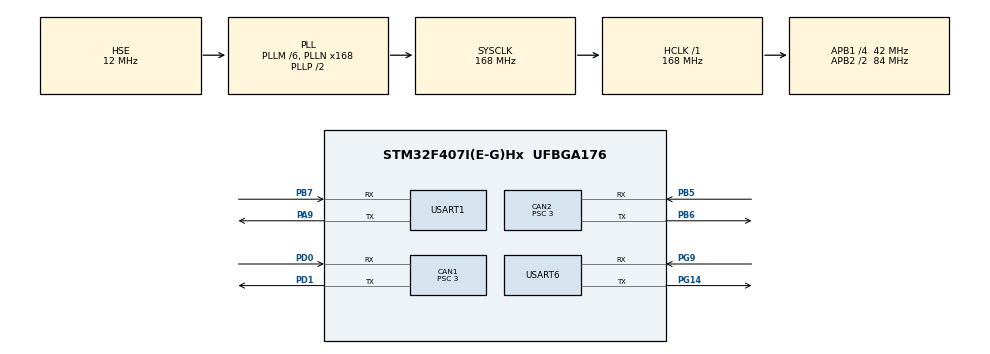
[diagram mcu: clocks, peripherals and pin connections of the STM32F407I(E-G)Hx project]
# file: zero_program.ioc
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CAN1.BS1=CAN_BS1_10TQ
CAN1.BS2=CAN_BS2_3TQ
CAN1.CalculateBaudRate=1000000
CAN1.CalculateTimeBit=1000
CAN1.CalculateTimeQuantum=71.42857142857143
CAN1.NART=ENABLE
CAN1.Prescaler=3
CAN2.BS1=CAN_BS1_10TQ
CAN2.BS2=CAN_BS2_3TQ
CAN2.CalculateBaudRate=1000000
CAN2.CalculateTimeBit=1000
CAN2.CalculateTimeQuantum=71.42857142857143
CAN2.NART=ENABLE
CAN2.Prescaler=3
Mcu.Family=STM32F4
Mcu.Name=STM32F407I(E-G)Hx
Mcu.Package=UFBGA176
NVIC.CAN1_RX0_IRQn=true\:2\:0\:true\:false\:true\:true\:true\:true
NVIC.CAN2_RX0_IRQn=true\:2\:0\:true\:false\:true\:true\:true\:true
NVIC.PriorityGroup=NVIC_PRIORITYGROUP_2
NVIC.TIM1_UP_TIM10_IRQn=true\:1\:0\:true\:false\:true\:true\:true\:true
NVIC.USART1_IRQn=true\:3\:0\:true\:false\:true\:true\:true\:true
NVIC.USART6_IRQn=true\:3\:0\:true\:false\:true\:true\:true\:true
PA13.Mode=Serial_Wire
PA13.Signal=SYS_JTMS-SWDIO
PA14.Mode=Serial_Wire
PA14.Signal=SYS_JTCK-SWCLK
PA9.Mode=Asynchronous
PA9.Signal=USART1_TX
PB5.Mode=CAN_Activate
PB5.Signal=CAN2_RX
PB6.Mode=CAN_Activate
PB6.Signal=CAN2_TX
PB7.Mode=Asynchronous
PB7.Signal=USART1_RX
PD0.Mode=CAN_Activate
PD0.Signal=CAN1_RX
PD1.Mode=CAN_Activate
PD1.Signal=CAN1_TX
PG14.Mode=Asynchronous
PG14.Signal=USART6_TX
PG9.Mode=Asynchronous
PG9.Signal=USART6_RX
PH0-OSC_IN.Mode=HSE-External-Oscillator
PH0-OSC_IN.Signal=RCC_OSC_IN
PH1-OSC_OUT.Mode=HSE-External-Oscillator
PH1-OSC_OUT.Signal=RCC_OSC_OUT
ProjectManager.HeapSize=0x200
ProjectManager.StackSize=0x400
ProjectManager.TargetToolchain=MDK-ARM V5
RCC.48MHZClocksFreq_Value=84000000
RCC.AHBFreq_Value=168000000
RCC.APB1CLKDivider=RCC_HCLK_DIV4
RCC.APB1Freq_Value=42000000
RCC.APB1TimFreq_Value=84000000
RCC.APB2CLKDivider=RCC_HCLK_DIV2
RCC.APB2Freq_Value=84000000
RCC.APB2TimFreq_Value=168000000
RCC.CortexFreq_Value=168000000
RCC.HCLKFreq_Value=168000000
RCC.HSE_VALUE=12000000
RCC.HSI_VALUE=16000000
RCC.LSE_VALUE=32768
RCC.PLLM=6
RCC.PLLN=168
RCC.PLLSourceVirtual=RCC_PLLSOURCE_HSE
RCC.SYSCLKFreq_VALUE=168000000
RCC.SYSCLKSource=RCC_SYSCLKSOURCE_PLLCLK
RCC.VCOOutputFreq_Value=336000000
TIM1.AutoReloadPreload=TIM_AUTORELOAD_PRELOAD_ENABLE
TIM1.Period=999
TIM1.Prescaler=167
USART1.VirtualMode=VM_ASYNC
USART6.VirtualMode=VM_ASYNC
VP_TIM1_VS_ClockSourceINT.Mode=Internal
board=custom

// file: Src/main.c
/* USER CODE BEGIN Header */
/**
  ******************************************************************************
  * @file           : main.c
  * @brief          : Main program body
  ******************************************************************************
  * @attention
  *
  * <h2><center>&copy; Copyright (c) 2020 STMicroelectronics.
  * All rights reserved.</center></h2>
  *
  * This software component is licensed by ST under BSD 3-Clause license,
  * the "License"; You may not use this file except in compliance with the
  * License. You may obtain a copy of the License at:
  *                        opensource.org/licenses/BSD-3-Clause
  *
  ******************************************************************************
  */
/* USER CODE END Header */
#include "main.h"
#include "can.h"
#include "tim.h"
#include "usart.h"
#include "gpio.h"

/* USER CODE BEGIN Includes */
#include <math.h>
#include <stdio.h>
#include "DM_BLDC_Motor.h"
#include "UART_Data.h"
#include "Gimbal_Track.h"
#include "DM_IMU_L1_V1.0.h"

/* USER CODE END Includes */

void SystemClock_Config(void);

int main(void)
{

  /* MCU Configuration--------------------------------------------------------*/

  /* Reset of all peripherals, Initializes the Flash interface and the Systick. */
  HAL_Init();

  /* Configure the system clock */
  SystemClock_Config();

  /* Initialize all configured peripherals */
  MX_GPIO_Init();
  MX_CAN1_Init();
  MX_CAN2_Init();
  MX_USART1_UART_Init();
  MX_USART6_UART_Init();
  MX_TIM1_Init();
  /* USER CODE BEGIN 2 */
	HAL_TIM_Base_Start_IT(&htim1);
	DM_CAN_Motor_Init();
	UART_Init();
	DM_IMU_Init();

  /* USER CODE END 2 */

  /* Infinite loop */
  /* USER CODE BEGIN WHILE */
	DM_CAN_Motor_SetEnable(DM_Motor_4310_ID,DM_Mototr_Disable);
	DM_CAN_Motor_SetEnable(DM_Motor_4340_ID,DM_Mototr_Disable);
	HAL_Delay(1000);
	DM_CAN_Motor_SetEnable(DM_Motor_4310_ID,DM_Mototr_Enable);
	DM_CAN_Motor_SetEnable(DM_Motor_4340_ID,DM_Mototr_Enable);

  while (1)
  {

		UART_IMU_AND_Motor(&huart6);
		Red_DM_IMU_EulerData();

		Gimbal_Track_PID_Y_X_Target_Angle_Calculation();
		printf("%.4f,%.4f,%.4f,%.4f\n", target_angle_x,target_angle_y,Gimbal_track_Came_Data.x_raw / 1000,Gimbal_track_Came_Data.y_raw / 1000);

		/*输出摄像头偏转数据(弧度)*/
//		printf("%.4f,%.4f,%.4f,%d\n", Gimbal_track_Came_Data.x_raw / 1000,
//																	Gimbal_track_Came_Data.y_raw / 1000,
//																	Gimbal_track_Came_Data.Distance,
//																	Gimbal_track_Came_Data.Yes_Red_Data_flag);
		/*输出IMU数据(角度)*/
//		printf("%.4f,%.4f,%.4f\n", DM_Motor_IMU_StructData.Euler_f_pitch,
//																DM_Motor_IMU_StructData.Euler_f_roll,
//																DM_Motor_IMU_StructData.Euler_f_yaw);
    /* USER CODE END WHILE */

  }
}

void SystemClock_Config(void)
{
  RCC_OscInitTypeDef RCC_OscInitStruct = {0};
  RCC_ClkInitTypeDef RCC_ClkInitStruct = {0};

  /** Configure the main internal regulator output voltage
  */
  __HAL_RCC_PWR_CLK_ENABLE();
  __HAL_PWR_VOLTAGESCALING_CONFIG(PWR_REGULATOR_VOLTAGE_SCALE1);

  /** Initializes the RCC Oscillators according to the specified parameters
  * in the RCC_OscInitTypeDef structure.
  */
  RCC_OscInitStruct.OscillatorType = RCC_OSCILLATORTYPE_HSE;
  RCC_OscInitStruct.HSEState = RCC_HSE_ON;
  RCC_OscInitStruct.PLL.PLLState = RCC_PLL_ON;
  RCC_OscInitStruct.PLL.PLLSource = RCC_PLLSOURCE_HSE;
  RCC_OscInitStruct.PLL.PLLM = 6;
  RCC_OscInitStruct.PLL.PLLN = 168;
  RCC_OscInitStruct.PLL.PLLP = RCC_PLLP_DIV2;
  RCC_OscInitStruct.PLL.PLLQ = 4;
  if (HAL_RCC_OscConfig(&RCC_OscInitStruct) != HAL_OK)
  {
    Error_Handler();
  }

  /** Initializes the CPU, AHB and APB buses clocks
  */
  RCC_ClkInitStruct.ClockType = RCC_CLOCKTYPE_HCLK|RCC_CLOCKTYPE_SYSCLK
                              |RCC_CLOCKTYPE_PCLK1|RCC_CLOCKTYPE_PCLK2;
  RCC_ClkInitStruct.SYSCLKSource = RCC_SYSCLKSOURCE_PLLCLK;
  RCC_ClkInitStruct.AHBCLKDivider = RCC_SYSCLK_DIV1;
  RCC_ClkInitStruct.APB1CLKDivider = RCC_HCLK_DIV4;
  RCC_ClkInitStruct.APB2CLKDivider = RCC_HCLK_DIV2;

  if (HAL_RCC_ClockConfig(&RCC_ClkInitStruct, FLASH_LATENCY_5) != HAL_OK)
  {
    Error_Handler();
  }
}

void Error_Handler(void)
{
}
